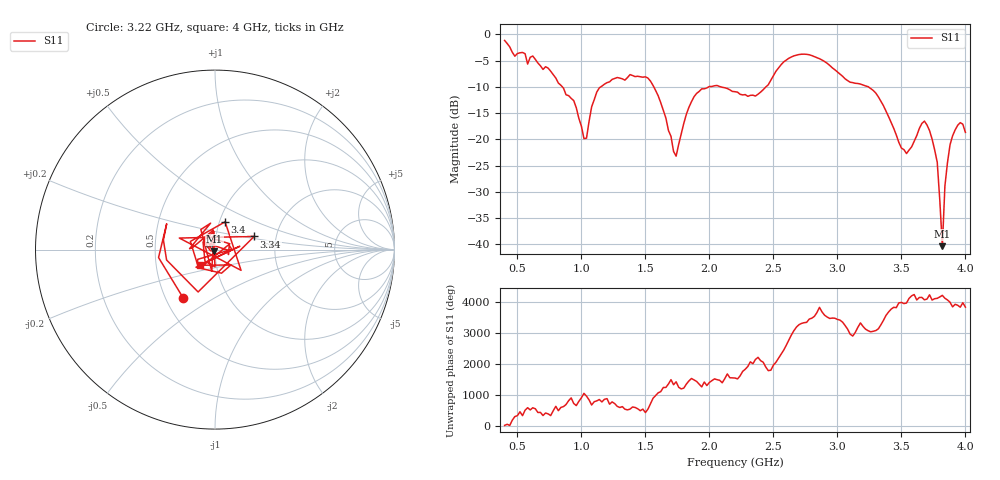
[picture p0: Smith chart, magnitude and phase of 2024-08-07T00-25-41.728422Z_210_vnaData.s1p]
!Created with skrf (http://scikit-rf.org).
# Hz S RI R 50.0
!freq ReS11 ImS11
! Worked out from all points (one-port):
!   181 points, 400 MHz to 4 GHz, reference 50 ohm
!   lowest |S11| = -40.3 dB at 3.82 GHz (marker M1), VSWR 1.02, Z = 49.6 - j0.851 ohm
!   |S11| at or under -10 dB: 1.565 GHz to 1.995 GHz (429.8 MHz wide, 24.1 % of centre); 2.089 GHz to 2.442 GHz (353 MHz wide, 15.6 % of centre); 3.242 GHz to end of sweep (the widest 3 of 4)
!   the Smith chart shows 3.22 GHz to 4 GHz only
!   S11 on the Smith chart (normalised r, x): 3.22 GHz: 0.61, -0.37; 3.34 GHz: 1.54, +0.24; 3.4 GHz: 1.06, +0.34; 4 GHz: 0.84, -0.14
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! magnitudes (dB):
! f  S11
! 400 MHz  -1.2
! 860 MHz  -10.2
! 940 MHz  -12.6
! 1.02 GHz  -19.9
! 1.12 GHz  -11.0
! 1.3 GHz  -8.3
! 1.52 GHz  -8.3
! 1.62 GHz  -13.0
! 1.72 GHz  -22.3
! 1.76 GHz  -20.9
! 1.9 GHz  -11.3
! 2.2 GHz  -10.9
! 2.36 GHz  -11.8
! 2.66 GHz  -4.1
! 3.1 GHz  -9.1
! 3.22 GHz  -9.8
! 3.34 GHz  -12.8
! 3.4 GHz  -15.7
! 3.5 GHz  -21.6
! 3.56 GHz  -22.0
! 3.66 GHz  -17.0
! 3.72 GHz  -18.3
! 3.78 GHz  -24.3
! 3.82 GHz  -40.3
! 3.84 GHz  -28.9
! 3.88 GHz  -21.0
! 3.96 GHz  -16.8
! 4 GHz  -18.7
